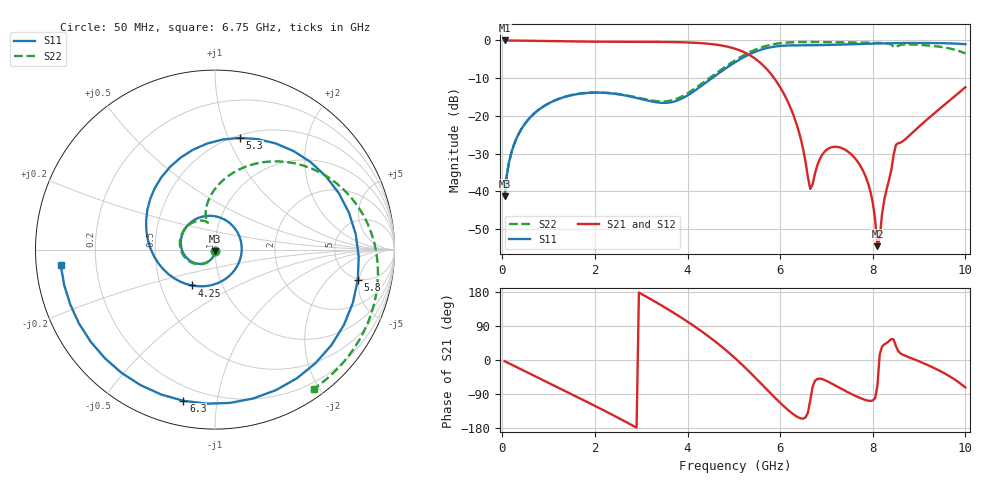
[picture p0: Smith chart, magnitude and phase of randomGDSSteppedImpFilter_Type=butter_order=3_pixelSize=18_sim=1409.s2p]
! freq	dB(S11)	phase(S11)	dB(S12)	phase(S12)
!  dB(S21)	phase(S21)	dB(S22)	phase(S22)
!S-par simulation data
#  GHz  S  DB  R 50
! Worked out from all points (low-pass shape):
!   200 points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, 50 MHz to 10 GHz, reference 50 ohm
!   highest |S21| = -0.01 dB at 50 MHz (marker M1); lowest = -54.5 dB at 8.1 GHz (marker M2)
!   |S21| within 3 dB of the highest: start of sweep to 5.2 GHz
!   lowest |S11| = -41.3 dB at 50 MHz (marker M3), VSWR 1.02, Z = 50 - j0.859 ohm
!   |S11| at or under -10 dB: start of sweep to 4.527 GHz
!   |S22| runs from -41.3 to -0.4 dB; largest |S21 - S12| = 0
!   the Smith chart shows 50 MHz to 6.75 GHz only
!   S11 on the Smith chart (normalised r, x): 50 MHz: 1.00, -0.02; 4.25 GHz: 0.72, -0.30; 5.3 GHz: 0.53, +1.10; 5.8 GHz: 4.84, -4.80; 6.3 GHz: 0.12, -0.81; 6.75 GHz: 0.07, -0.05
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0.05  -41.32 -91.3  -0.01 -3.1  -0.01 -3.1  -41.31 -91.2
0.2  -29.57 -102.0  -0.03 -12.2  -0.03 -12.2  -29.56 -101.5
0.5  -21.90 -121.2  -0.07 -30.3  -0.07 -30.3  -21.89 -120.1
1.75  -14.01 159.4  -0.31 -105.7  -0.31 -105.7  -13.97 167.6
2.65  -14.57 91.9  -0.36 -162.1  -0.36 -162.1  -14.48 122.7
3.4  -16.50 8.0  -0.39 146.7  -0.39 146.7  -16.17 104.7
4.25  -12.49 -122.6  -0.69 80.3  -0.69 80.3  -11.94 100.2
5.05  -5.61 118.6  -2.29 2.2  -2.29 2.2  -5.10 61.2
5.3  -3.90 77.4  -3.61 -26.8  -3.61 -26.8  -3.38 43.8
5.8  -1.80 -11.9  -8.88 -88.8  -8.88 -88.8  -1.14 5.8
6.05  -1.41 -57.6  -13.48 -118.7  -13.48 -118.7  -0.67 -12.4
6.3  -1.30 -101.8  -20.23 -144.5  -20.23 -144.5  -0.47 -28.9
6.7  -1.28 -166.8  -38.15 -71.2  -38.15 -71.2  -0.43 -52.1
6.75  -1.27 -174.3  -35.39 -55.1  -35.39 -55.1  -0.43 -54.7
7.2  -1.14 125.7  -28.18 -67.8  -28.18 -67.8  -0.48 -77.1
7.6  -0.97 83.0  -31.00 -93.4  -31.00 -93.4  -0.54 -95.8
7.95  -0.84 52.5  -40.07 -108.0  -40.07 -108.0  -0.62 -112.0
8.1  -0.80 41.0  -54.51 -68.9  -54.51 -68.9  -0.67 -119.2
8.35  -0.75 23.7  -37.04 49.6  -37.04 49.6  -0.89 -132.8
8.5  -0.71 14.4  -27.65 36.8  -27.65 36.8  -1.84 -135.7
9.4  -0.71 -31.9  -18.57 -25.7  -18.57 -25.7  -1.60 169.1
10  -1.00 -55.8  -12.41 -72.6  -12.41 -72.6  -3.46 96.9
